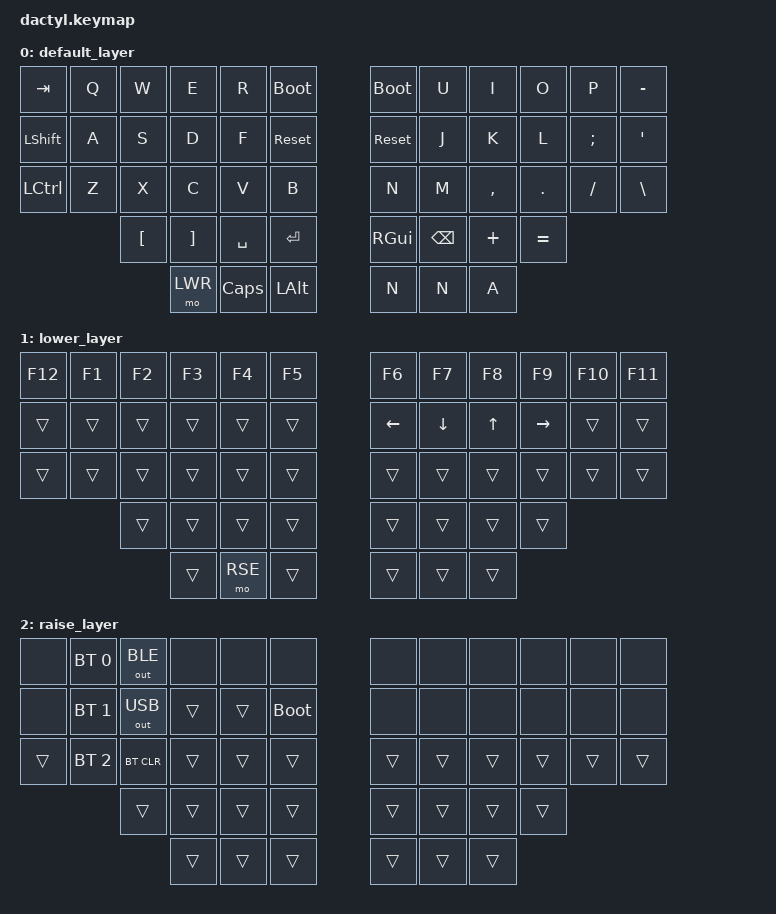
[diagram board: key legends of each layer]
#include <behaviors.dtsi>
#include <dt-bindings/zmk/keys.h>
#include <dt-bindings/zmk/bt.h>
#include <behaviors.dtsi>
#include <dt-bindings/zmk/keys.h>
#include <dt-bindings/zmk/outputs.h>

#define DEFAULT 0
#define LWR 1
#define RSE 2

/ {
  keymap {
    compatible = "zmk,keymap";
    default_layer {
            bindings = <
                &kp TAB   &kp Q     &kp W     &kp E      &kp R      &bootloader         &bootloader     &kp U     &kp I     &kp O     &kp P    &kp MINUS
                &kp LSHFT &kp A     &kp S     &kp D      &kp F      &sys_reset          &sys_reset     &kp J     &kp K     &kp L     &kp SEMI &kp SQT
                &kp LCTRL &kp Z     &kp X     &kp C      &kp V      &kp B               &kp N     &kp M     &kp COMMA &kp DOT   &kp FSLH &kp BSLH
                                    &kp LBKT  &kp RBKT   &kp SPACE  &kp ENTER           &kp RGUI  &kp BSPC  &kp PLUS  &kp EQUAL
                                              &mo LWR    &kp CAPS   &kp LALT            &kp N     &kp N     &kp A
            >;
        };
    lower_layer {
            bindings = <
                &kp F12   &kp F1    &kp F2    &kp F3     &kp F4     &kp F5              &kp F6    &kp F7    &kp F8    &kp F9    &kp F10  &kp F11
                &trans    &trans    &trans    &trans     &trans     &trans              &kp LEFT  &kp DOWN  &kp UP    &kp RIGHT &trans   &trans
                &trans    &trans    &trans    &trans     &trans     &trans              &trans    &trans    &trans    &trans    &trans   &trans
                                    &trans    &trans     &trans     &trans              &trans    &trans    &trans    &trans
                                              &trans     &mo RSE    &trans               &trans    &trans    &trans
            >;
        };

    raise_layer {
            bindings = <
                &none     &bt BT_SEL 0 &out OUT_BLE     &none      &none      &none               &none    &none     &none     &none     &none    &none
                &none     &bt BT_SEL 1 &out OUT_USB     &trans     &trans     &bootloader         &none     &none     &none     &none     &none    &none
                &trans    &bt BT_SEL 2 &bt BT_CLR       &trans     &trans     &trans              &trans    &trans    &trans    &trans    &trans   &trans
                                       &trans           &trans     &trans     &trans              &trans    &trans    &trans    &trans
                                                        &trans     &trans     &trans              &trans    &trans    &trans
            >;
        };
  };
};




